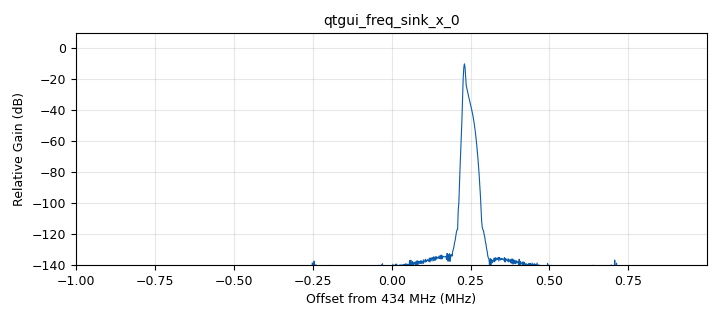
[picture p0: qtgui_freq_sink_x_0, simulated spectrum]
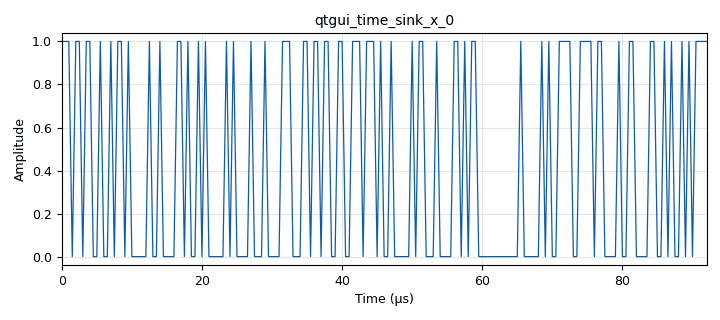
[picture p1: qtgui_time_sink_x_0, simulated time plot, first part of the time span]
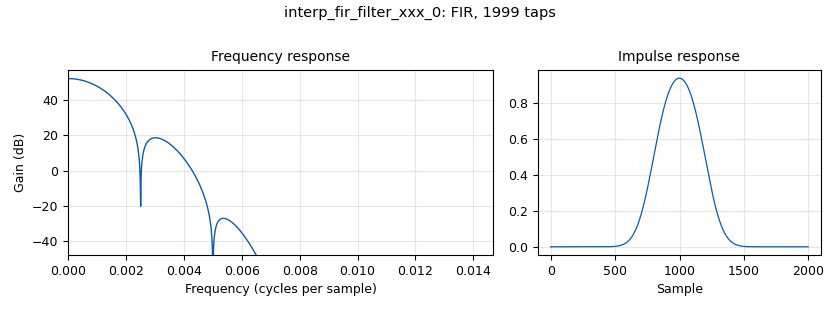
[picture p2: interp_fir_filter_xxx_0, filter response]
<?xml version='1.0' encoding='utf-8'?>
<?grc format='1' created='3.7.10'?>
<flow_graph>
<block>
<key>options</key>
<param><key>id</key><value>rtl_si446x</value></param>
<param><key>generate_options</key><value>qt_gui</value></param>
</block>
<block>
<key>variable</key>
<param><key>id</key><value>bt</value></param>
<param><key>value</key><value>0.5</value></param>
</block>
<block>
<key>variable</key>
<param><key>id</key><value>deviation</value></param>
<param><key>value</key><value>20e3</value></param>
</block>
<block>
<key>variable</key>
<param><key>id</key><value>freq</value></param>
<param><key>value</key><value>434.000e6</value></param>
</block>
<block>
<key>variable</key>
<param><key>id</key><value>gaussian_taps</value></param>
<param><key>value</key><value>firdes.gaussian(1.0,samp_per_sym, bt, 4 * samp_per_sym)</value></param>
</block>
<block>
<key>variable</key>
<param><key>id</key><value>samp_per_sym</value></param>
<param><key>value</key><value>int(samp_rate / sym_rate)</value></param>
</block>
<block>
<key>variable</key>
<param><key>id</key><value>samp_rate</value></param>
<param><key>value</key><value>2000000</value></param>
</block>
<block>
<key>variable</key>
<param><key>id</key><value>sym_rate</value></param>
<param><key>value</key><value>5e3</value></param>
</block>
<block>
<key>variable</key>
<param><key>id</key><value>tune_offset</value></param>
<param><key>value</key><value>250e3</value></param>
</block>
<block>
<key>variable_qtgui_range</key>
<param><key>id</key><value>tx_gain</value></param>
<param><key>value</key><value>40</value></param>
<param><key>orient</key><value>Qt.Horizontal</value></param>
<param><key>start</key><value>-12</value></param>
<param><key>step</key><value>1</value></param>
<param><key>stop</key><value>64</value></param>
</block>
<block>
<key>variable</key>
<param><key>id</key><value>tx_taps</value></param>
<param><key>value</key><value>numpy.convolve(numpy.array(gaussian_taps),numpy.array((1,) * samp_per_sym))</value></param>
</block>
<block>
<key>analog_frequency_modulator_fc</key>
<param><key>id</key><value>analog_frequency_modulator_fc_0</value></param>
<param><key>sensitivity</key><value>2 * math.pi * deviation / samp_rate</value></param>
</block>
<block>
<key>analog_random_source_x</key>
<param><key>id</key><value>analog_random_source_x_0</value></param>
<param><key>max</key><value>2</value></param>
<param><key>min</key><value>0</value></param>
<param><key>num_samps</key><value>2000000</value></param>
<param><key>type</key><value>byte</value></param>
<param><key>repeat</key><value>True</value></param>
</block>
<block>
<key>analog_sig_source_x</key>
<param><key>id</key><value>analog_sig_source_x_0_0</value></param>
<param><key>amp</key><value>1</value></param>
<param><key>freq</key><value>tune_offset</value></param>
<param><key>offset</key><value>0</value></param>
<param><key>type</key><value>complex</value></param>
<param><key>samp_rate</key><value>samp_rate</value></param>
<param><key>waveform</key><value>analog.GR_COS_WAVE</value></param>
</block>
<block>
<key>blocks_add_const_vxx</key>
<param><key>id</key><value>blocks_add_const_vxx_0</value></param>
<param><key>const</key><value>-0.5</value></param>
<param><key>type</key><value>float</value></param>
</block>
<block>
<key>blocks_multiply_const_vxx</key>
<param><key>id</key><value>blocks_multiply_const_vxx_0</value></param>
<param><key>const</key><value>2</value></param>
<param><key>type</key><value>float</value></param>
</block>
<block>
<key>blocks_multiply_const_vxx</key>
<param><key>id</key><value>blocks_multiply_const_vxx_1</value></param>
<param><key>const</key><value>0.99</value></param>
<param><key>type</key><value>complex</value></param>
</block>
<block>
<key>blocks_multiply_xx</key>
<param><key>id</key><value>blocks_multiply_xx_0_0</value></param>
<param><key>type</key><value>complex</value></param>
</block>
<block>
<key>blocks_uchar_to_float</key>
<param><key>id</key><value>blocks_uchar_to_float_0</value></param>
</block>
<block>
<key>import</key>
<param><key>id</key><value>import_math</value></param>
<param><key>import</key><value>import math</value></param>
</block>
<block>
<key>import</key>
<param><key>id</key><value>import_numpy</value></param>
<param><key>import</key><value>import numpy</value></param>
</block>
<block>
<key>interp_fir_filter_xxx</key>
<param><key>id</key><value>interp_fir_filter_xxx_0</value></param>
<param><key>interp</key><value>samp_per_sym</value></param>
<param><key>taps</key><value>tx_taps</value></param>
<param><key>type</key><value>fff</value></param>
</block>
<block>
<key>osmosdr_sink</key>
<param><key>id</key><value>osmosdr_sink_0</value></param>
<param><key>ant0</key><value>TX_PATH2</value></param>
<param><key>bb_gain0</key><value>0</value></param>
<param><key>bw0</key><value>5e6</value></param>
<param><key>freq0</key><value>freq - tune_offset</value></param>
<param><key>if_gain0</key><value>0</value></param>
<param><key>gain0</key><value>tx_gain</value></param>
<param><key>args</key><value></value></param>
<param><key>type</key><value>fc32</value></param>
<param><key>sample_rate</key><value>samp_rate</value></param>
<param><key>sync</key><value></value></param>
</block>
<block>
<key>qtgui_freq_sink_x</key>
<param><key>id</key><value>qtgui_freq_sink_x_0</value></param>
<param><key>bw</key><value>samp_rate</value></param>
<param><key>fc</key><value>freq</value></param>
<param><key>ctrlpanel</key><value>True</value></param>
<param><key>fftsize</key><value>1024</value></param>
<param><key>showports</key><value>True</value></param>
<param><key>type</key><value>complex</value></param>
<param><key>wintype</key><value>firdes.WIN_BLACKMAN_hARRIS</value></param>
</block>
<block>
<key>qtgui_time_sink_x</key>
<param><key>id</key><value>qtgui_time_sink_x_0</value></param>
<param><key>color1</key><value>"blue"</value></param>
<param><key>label1</key><value></value></param>
<param><key>size</key><value>1024</value></param>
<param><key>srate</key><value>samp_rate</value></param>
<param><key>type</key><value>float</value></param>
<param><key>ymin</key><value>0</value></param>
</block>
<connection><source_block_id>analog_frequency_modulator_fc_0</source_block_id><sink_block_id>blocks_multiply_const_vxx_1</sink_block_id><source_key>0</source_key><sink_key>0</sink_key></connection>
<connection><source_block_id>analog_random_source_x_0</source_block_id><sink_block_id>blocks_uchar_to_float_0</sink_block_id><source_key>0</source_key><sink_key>0</sink_key></connection>
<connection><source_block_id>analog_sig_source_x_0_0</source_block_id><sink_block_id>blocks_multiply_xx_0_0</sink_block_id><source_key>0</source_key><sink_key>1</sink_key></connection>
<connection><source_block_id>blocks_add_const_vxx_0</source_block_id><sink_block_id>blocks_multiply_const_vxx_0</sink_block_id><source_key>0</source_key><sink_key>0</sink_key></connection>
<connection><source_block_id>blocks_multiply_const_vxx_0</source_block_id><sink_block_id>interp_fir_filter_xxx_0</sink_block_id><source_key>0</source_key><sink_key>0</sink_key></connection>
<connection><source_block_id>blocks_multiply_const_vxx_1</source_block_id><sink_block_id>blocks_multiply_xx_0_0</sink_block_id><source_key>0</source_key><sink_key>0</sink_key></connection>
<connection><source_block_id>blocks_multiply_xx_0_0</source_block_id><sink_block_id>osmosdr_sink_0</sink_block_id><source_key>0</source_key><sink_key>0</sink_key></connection>
<connection><source_block_id>blocks_multiply_xx_0_0</source_block_id><sink_block_id>qtgui_freq_sink_x_0</sink_block_id><source_key>0</source_key><sink_key>0</sink_key></connection>
<connection><source_block_id>blocks_uchar_to_float_0</source_block_id><sink_block_id>blocks_add_const_vxx_0</sink_block_id><source_key>0</source_key><sink_key>0</sink_key></connection>
<connection><source_block_id>blocks_uchar_to_float_0</source_block_id><sink_block_id>qtgui_time_sink_x_0</sink_block_id><source_key>0</source_key><sink_key>0</sink_key></connection>
<connection><source_block_id>interp_fir_filter_xxx_0</source_block_id><sink_block_id>analog_frequency_modulator_fc_0</sink_block_id><source_key>0</source_key><sink_key>0</sink_key></connection>
</flow_graph>
